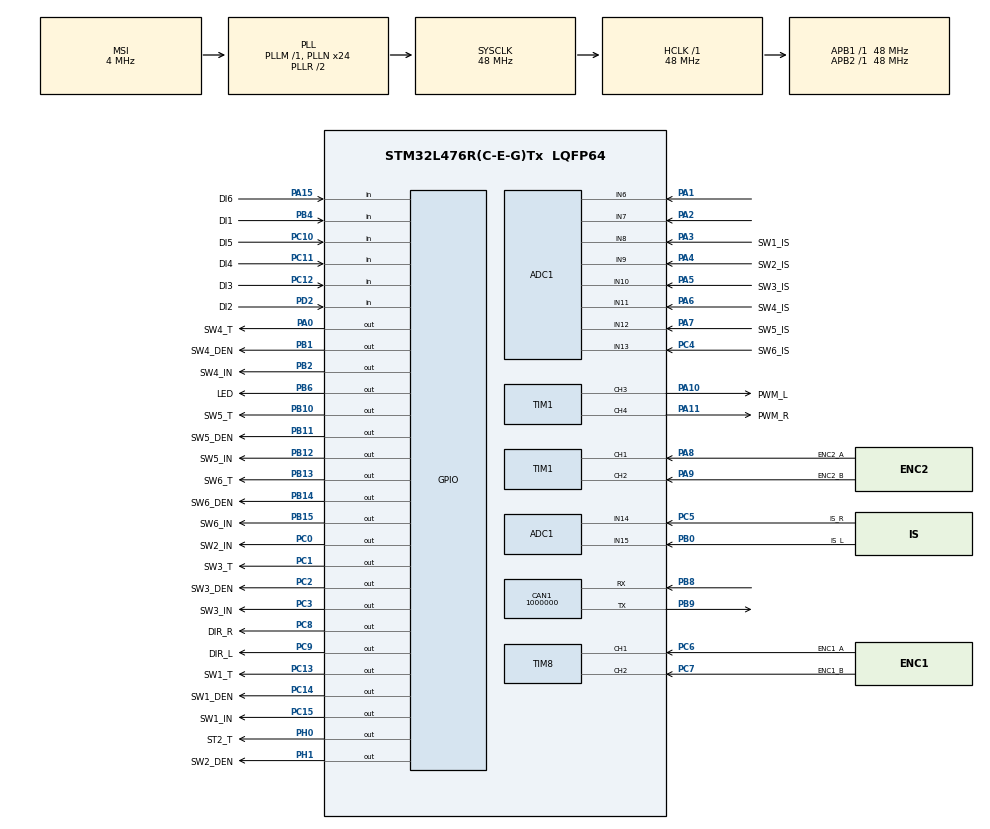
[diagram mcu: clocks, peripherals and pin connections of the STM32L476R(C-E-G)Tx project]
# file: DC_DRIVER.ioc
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ADC1.Channel-0\#ChannelRegularConversion=ADC_CHANNEL_7
ADC1.NbrOfConversionFlag=1
ADC1.OffsetNumber-0\#ChannelRegularConversion=ADC_OFFSET_NONE
ADC1.Rank-0\#ChannelRegularConversion=1
ADC1.SamplingTime-0\#ChannelRegularConversion=ADC_SAMPLETIME_2CYCLES_5
ADC1.master=1
CAN1.BS1=CAN_BS1_1TQ
CAN1.BS2=CAN_BS2_1TQ
CAN1.CalculateBaudRate=1000000
CAN1.CalculateTimeBit=1000
CAN1.CalculateTimeQuantum=333.3333333333333
Mcu.Family=STM32L4
Mcu.Name=STM32L476R(C-E-G)Tx
Mcu.Package=LQFP64
NVIC.PriorityGroup=NVIC_PRIORITYGROUP_4
PA0.GPIO_Label=SW4_T
PA0.Signal=GPIO_Output
PA1.Signal=ADCx_IN6
PA10.GPIO_Label=PWM_L
PA10.Signal=S_TIM1_CH3
PA11.GPIO_Label=PWM_R
PA11.Signal=S_TIM1_CH4
PA13\ (JTMS-SWDIO).Mode=Serial_Wire
PA13\ (JTMS-SWDIO).Signal=SYS_JTMS-SWDIO
PA14\ (JTCK-SWCLK).Mode=Serial_Wire
PA14\ (JTCK-SWCLK).Signal=SYS_JTCK-SWCLK
PA15\ (JTDI).GPIO_Label=DI6
PA15\ (JTDI).Signal=GPIO_Input
PA2.Signal=ADCx_IN7
PA3.GPIO_Label=SW1_IS
PA3.Signal=ADCx_IN8
PA4.GPIO_Label=SW2_IS
PA4.Signal=ADCx_IN9
PA5.GPIO_Label=SW3_IS
PA5.Signal=ADCx_IN10
PA6.GPIO_Label=SW4_IS
PA6.Signal=ADCx_IN11
PA7.GPIO_Label=SW5_IS
PA7.Signal=ADCx_IN12
PA8.GPIO_Label=ENC2_A
PA8.Signal=S_TIM1_CH1
PA9.GPIO_Label=ENC2_B
PA9.Signal=S_TIM1_CH2
PB0.GPIO_Label=IS_L
PB0.Signal=ADCx_IN15
PB1.GPIO_Label=SW4_DEN
PB1.Signal=GPIO_Output
PB10.GPIO_Label=SW5_T
PB10.Signal=GPIO_Output
PB11.GPIO_Label=SW5_DEN
PB11.Signal=GPIO_Output
PB12.GPIO_Label=SW5_IN
PB12.Signal=GPIO_Output
PB13.GPIO_Label=SW6_T
PB13.Signal=GPIO_Output
PB14.GPIO_Label=SW6_DEN
PB14.Signal=GPIO_Output
PB15.GPIO_Label=SW6_IN
PB15.Signal=GPIO_Output
PB2.GPIO_Label=SW4_IN
PB2.Signal=GPIO_Output
PB4\ (NJTRST).GPIO_Label=DI1
PB4\ (NJTRST).Signal=GPIO_Input
PB6.GPIO_Label=LED
PB6.Signal=GPIO_Output
PB8.Mode=CAN_Activate
PB8.Signal=CAN1_RX
PB9.Mode=CAN_Activate
PB9.Signal=CAN1_TX
PC0.GPIO_Label=SW2_IN
PC0.Signal=GPIO_Output
PC1.GPIO_Label=SW3_T
PC1.Signal=GPIO_Output
PC10.GPIO_Label=DI5
PC10.Signal=GPIO_Input
PC11.GPIO_Label=DI4
PC11.Signal=GPIO_Input
PC12.GPIO_Label=DI3
PC12.Signal=GPIO_Input
PC13.GPIO_Label=SW1_T
PC13.GPIO_PuPd=GPIO_PULLDOWN
PC13.Signal=GPIO_Output
PC14-OSC32_IN\ (PC14).GPIO_Label=SW1_DEN
PC14-OSC32_IN\ (PC14).GPIO_PuPd=GPIO_NOPULL
PC14-OSC32_IN\ (PC14).Signal=GPIO_Output
PC15-OSC32_OUT\ (PC15).GPIO_Label=SW1_IN
PC15-OSC32_OUT\ (PC15).GPIO_PuPd=GPIO_NOPULL
PC15-OSC32_OUT\ (PC15).PinState=GPIO_PIN_RESET
PC15-OSC32_OUT\ (PC15).Signal=GPIO_Output
PC2.GPIO_Label=SW3_DEN
PC2.Signal=GPIO_Output
PC3.GPIO_Label=SW3_IN
PC3.Signal=GPIO_Output
PC4.GPIO_Label=SW6_IS
PC4.Signal=ADCx_IN13
PC5.GPIO_Label=IS_R
PC5.Signal=ADCx_IN14
PC6.GPIO_Label=ENC1_A
PC6.Signal=S_TIM8_CH1
PC7.GPIO_Label=ENC1_B
PC7.Signal=S_TIM8_CH2
PC8.GPIO_Label=DIR_R
PC8.Signal=GPIO_Output
PC9.GPIO_Label=DIR_L
PC9.Signal=GPIO_Output
PD2.GPIO_Label=DI2
PD2.Signal=GPIO_Input
PH0-OSC_IN\ (PH0).GPIO_Label=ST2_T
PH0-OSC_IN\ (PH0).Signal=GPIO_Output
PH1-OSC_OUT\ (PH1).GPIO_Label=SW2_DEN
PH1-OSC_OUT\ (PH1).Signal=GPIO_Output
ProjectManager.HeapSize=0x200
ProjectManager.StackSize=0x400
ProjectManager.TargetToolchain=STM32CubeIDE
RCC.ADCFreq_Value=32000000
RCC.AHBFreq_Value=48000000
RCC.APB1Freq_Value=48000000
RCC.APB1TimFreq_Value=48000000
RCC.APB2Freq_Value=48000000
RCC.APB2TimFreq_Value=48000000
RCC.CortexFreq_Value=48000000
RCC.HCLKFreq_Value=48000000
RCC.HSE_VALUE=8000000
RCC.HSI_VALUE=16000000
RCC.LSE_VALUE=32768
RCC.MSI_VALUE=4000000
RCC.PLLN=24
RCC.PLLSAI1N=16
RCC.SYSCLKFreq_VALUE=48000000
RCC.SYSCLKSource=RCC_SYSCLKSOURCE_PLLCLK
RCC.USBFreq_Value=32000000
RCC.VCOOutputFreq_Value=96000000
SH.ADCx_IN10.0=ADC1_IN10,IN10-Single-Ended
SH.ADCx_IN11.0=ADC1_IN11,IN11-Single-Ended
SH.ADCx_IN12.0=ADC1_IN12,IN12-Single-Ended
SH.ADCx_IN13.0=ADC1_IN13,IN13-Single-Ended
SH.ADCx_IN14.0=ADC1_IN14,IN14-Single-Ended
SH.ADCx_IN15.0=ADC1_IN15,IN15-Single-Ended
SH.ADCx_IN6.0=ADC1_IN6,IN6-Single-Ended
SH.ADCx_IN7.0=ADC1_IN7,IN7-Single-Ended
SH.ADCx_IN8.0=ADC1_IN8,IN8-Single-Ended
SH.ADCx_IN9.0=ADC1_IN9,IN9-Single-Ended
SH.S_TIM1_CH1.0=TIM1_CH1,Encoder_Interface
SH.S_TIM1_CH2.0=TIM1_CH2,Encoder_Interface
SH.S_TIM1_CH3.0=TIM1_CH3,PWM Generation3 CH3
SH.S_TIM1_CH4.0=TIM1_CH4,PWM Generation4 CH4
SH.S_TIM8_CH1.0=TIM8_CH1,Encoder_Interface
SH.S_TIM8_CH2.0=TIM8_CH2,Encoder_Interface
TIM1.Channel-PWM\ Generation3\ CH3=TIM_CHANNEL_3
TIM1.Channel-PWM\ Generation4\ CH4=TIM_CHANNEL_4
board=custom

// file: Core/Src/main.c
/* USER CODE BEGIN Header */
/**
  ******************************************************************************
  * @file           : main.c
  * @brief          : Main program body
  ******************************************************************************
  * @attention
  *
  * Copyright (c) 2024 STMicroelectronics.
  * All rights reserved.
  *
  * This software is licensed under terms that can be found in the LICENSE file
  * in the root directory of this software component.
  * If no LICENSE file comes with this software, it is provided AS-IS.
  *
  ******************************************************************************
  */
/* USER CODE END Header */
#include "main.h"

/* USER CODE BEGIN Includes */
#include <stdbool.h>
/* USER CODE END Includes */

ADC_HandleTypeDef hadc1;

CAN_HandleTypeDef hcan1;

TIM_HandleTypeDef htim1;
TIM_HandleTypeDef htim8;

void SystemClock_Config(void);
static void MX_GPIO_Init(void);
static void MX_ADC1_Init(void);
static void MX_CAN1_Init(void);
static void MX_TIM1_Init(void);
static void MX_TIM8_Init(void);

/* USER CODE BEGIN 0 */
uint32_t LastBlinkTime = 0; // Stores the last time the LED blinked
uint32_t BlinkInterval = 500; // Blink interval in milliseconds
/* USER CODE END 0 */

int main(void)
{

  /* MCU Configuration--------------------------------------------------------*/

  /* Reset of all peripherals, Initializes the Flash interface and the Systick. */
  HAL_Init();

  /* Configure the system clock */
  SystemClock_Config();

  /* Initialize all configured peripherals */
  MX_GPIO_Init();
  MX_ADC1_Init();
  MX_CAN1_Init();
  MX_TIM1_Init();
  MX_TIM8_Init();

  /* Infinite loop */
  /* USER CODE BEGIN WHILE */
  while (1)
  {
	  BlinkLed();
	  PowerSwitchOffDiagnostic(1, 1);
	  PowerSwitchOffDiagnostic(2, 1);
	  PowerSwitchOffDiagnostic(3, 1);
	  PowerSwitchOffDiagnostic(4, 1);
	  PowerSwitchOffDiagnostic(5, 1);
	  PowerSwitchOffDiagnostic(6, 1);
    /* USER CODE END WHILE */

  }
}

void SystemClock_Config(void)
{
  RCC_OscInitTypeDef RCC_OscInitStruct = {0};
  RCC_ClkInitTypeDef RCC_ClkInitStruct = {0};

  /** Configure the main internal regulator output voltage
  */
  if (HAL_PWREx_ControlVoltageScaling(PWR_REGULATOR_VOLTAGE_SCALE1) != HAL_OK)
  {
    Error_Handler();
  }

  /** Initializes the RCC Oscillators according to the specified parameters
  * in the RCC_OscInitTypeDef structure.
  */
  RCC_OscInitStruct.OscillatorType = RCC_OSCILLATORTYPE_MSI;
  RCC_OscInitStruct.MSIState = RCC_MSI_ON;
  RCC_OscInitStruct.MSICalibrationValue = 0;
  RCC_OscInitStruct.MSIClockRange = RCC_MSIRANGE_6;
  RCC_OscInitStruct.PLL.PLLState = RCC_PLL_ON;
  RCC_OscInitStruct.PLL.PLLSource = RCC_PLLSOURCE_MSI;
  RCC_OscInitStruct.PLL.PLLM = 1;
  RCC_OscInitStruct.PLL.PLLN = 24;
  RCC_OscInitStruct.PLL.PLLP = RCC_PLLP_DIV7;
  RCC_OscInitStruct.PLL.PLLQ = RCC_PLLQ_DIV2;
  RCC_OscInitStruct.PLL.PLLR = RCC_PLLR_DIV2;
  if (HAL_RCC_OscConfig(&RCC_OscInitStruct) != HAL_OK)
  {
    Error_Handler();
  }

  /** Initializes the CPU, AHB and APB buses clocks
  */
  RCC_ClkInitStruct.ClockType = RCC_CLOCKTYPE_HCLK|RCC_CLOCKTYPE_SYSCLK
                              |RCC_CLOCKTYPE_PCLK1|RCC_CLOCKTYPE_PCLK2;
  RCC_ClkInitStruct.SYSCLKSource = RCC_SYSCLKSOURCE_PLLCLK;
  RCC_ClkInitStruct.AHBCLKDivider = RCC_SYSCLK_DIV1;
  RCC_ClkInitStruct.APB1CLKDivider = RCC_HCLK_DIV1;
  RCC_ClkInitStruct.APB2CLKDivider = RCC_HCLK_DIV1;

  if (HAL_RCC_ClockConfig(&RCC_ClkInitStruct, FLASH_LATENCY_2) != HAL_OK)
  {
    Error_Handler();
  }
}

static void MX_ADC1_Init(void)
{

  ADC_MultiModeTypeDef multimode = {0};
  ADC_ChannelConfTypeDef sConfig = {0};

  /** Common config
  */
  hadc1.Instance = ADC1;
  hadc1.Init.ClockPrescaler = ADC_CLOCK_ASYNC_DIV1;
  hadc1.Init.Resolution = ADC_RESOLUTION_12B;
  hadc1.Init.DataAlign = ADC_DATAALIGN_RIGHT;
  hadc1.Init.ScanConvMode = ADC_SCAN_DISABLE;
  hadc1.Init.EOCSelection = ADC_EOC_SINGLE_CONV;
  hadc1.Init.LowPowerAutoWait = DISABLE;
  hadc1.Init.ContinuousConvMode = DISABLE;
  hadc1.Init.NbrOfConversion = 1;
  hadc1.Init.DiscontinuousConvMode = DISABLE;
  hadc1.Init.ExternalTrigConv = ADC_SOFTWARE_START;
  hadc1.Init.ExternalTrigConvEdge = ADC_EXTERNALTRIGCONVEDGE_NONE;
  hadc1.Init.DMAContinuousRequests = DISABLE;
  hadc1.Init.Overrun = ADC_OVR_DATA_PRESERVED;
  hadc1.Init.OversamplingMode = DISABLE;
  if (HAL_ADC_Init(&hadc1) != HAL_OK)
  {
    Error_Handler();
  }

  /** Configure the ADC multi-mode
  */
  multimode.Mode = ADC_MODE_INDEPENDENT;
  if (HAL_ADCEx_MultiModeConfigChannel(&hadc1, &multimode) != HAL_OK)
  {
    Error_Handler();
  }

  /** Configure Regular Channel
  */
  sConfig.Channel = ADC_CHANNEL_7;
  sConfig.Rank = ADC_REGULAR_RANK_1;
  sConfig.SamplingTime = ADC_SAMPLETIME_2CYCLES_5;
  sConfig.SingleDiff = ADC_SINGLE_ENDED;
  sConfig.OffsetNumber = ADC_OFFSET_NONE;
  sConfig.Offset = 0;
  if (HAL_ADC_ConfigChannel(&hadc1, &sConfig) != HAL_OK)
  {
    Error_Handler();
  }

}

static void MX_CAN1_Init(void)
{

  hcan1.Instance = CAN1;
  hcan1.Init.Prescaler = 16;
  hcan1.Init.Mode = CAN_MODE_NORMAL;
  hcan1.Init.SyncJumpWidth = CAN_SJW_1TQ;
  hcan1.Init.TimeSeg1 = CAN_BS1_1TQ;
  hcan1.Init.TimeSeg2 = CAN_BS2_1TQ;
  hcan1.Init.TimeTriggeredMode = DISABLE;
  hcan1.Init.AutoBusOff = DISABLE;
  hcan1.Init.AutoWakeUp = DISABLE;
  hcan1.Init.AutoRetransmission = DISABLE;
  hcan1.Init.ReceiveFifoLocked = DISABLE;
  hcan1.Init.TransmitFifoPriority = DISABLE;
  if (HAL_CAN_Init(&hcan1) != HAL_OK)
  {
    Error_Handler();
  }

}

static void MX_TIM1_Init(void)
{

  TIM_Encoder_InitTypeDef sConfig = {0};
  TIM_MasterConfigTypeDef sMasterConfig = {0};
  TIM_OC_InitTypeDef sConfigOC = {0};
  TIM_BreakDeadTimeConfigTypeDef sBreakDeadTimeConfig = {0};

  htim1.Instance = TIM1;
  htim1.Init.Prescaler = 0;
  htim1.Init.CounterMode = TIM_COUNTERMODE_UP;
  htim1.Init.Period = 65535;
  htim1.Init.ClockDivision = TIM_CLOCKDIVISION_DIV1;
  htim1.Init.RepetitionCounter = 0;
  htim1.Init.AutoReloadPreload = TIM_AUTORELOAD_PRELOAD_DISABLE;
  if (HAL_TIM_PWM_Init(&htim1) != HAL_OK)
  {
    Error_Handler();
  }
  sConfig.EncoderMode = TIM_ENCODERMODE_TI1;
  sConfig.IC1Polarity = TIM_ICPOLARITY_RISING;
  sConfig.IC1Selection = TIM_ICSELECTION_DIRECTTI;
  sConfig.IC1Prescaler = TIM_ICPSC_DIV1;
  sConfig.IC1Filter = 0;
  sConfig.IC2Polarity = TIM_ICPOLARITY_RISING;
  sConfig.IC2Selection = TIM_ICSELECTION_DIRECTTI;
  sConfig.IC2Prescaler = TIM_ICPSC_DIV1;
  sConfig.IC2Filter = 0;
  if (HAL_TIM_Encoder_Init(&htim1, &sConfig) != HAL_OK)
  {
    Error_Handler();
  }
  sMasterConfig.MasterOutputTrigger = TIM_TRGO_RESET;
  sMasterConfig.MasterOutputTrigger2 = TIM_TRGO2_RESET;
  sMasterConfig.MasterSlaveMode = TIM_MASTERSLAVEMODE_DISABLE;
  if (HAL_TIMEx_MasterConfigSynchronization(&htim1, &sMasterConfig) != HAL_OK)
  {
    Error_Handler();
  }
  sConfigOC.OCMode = TIM_OCMODE_PWM1;
  sConfigOC.Pulse = 0;
  sConfigOC.OCPolarity = TIM_OCPOLARITY_HIGH;
  sConfigOC.OCNPolarity = TIM_OCNPOLARITY_HIGH;
  sConfigOC.OCFastMode = TIM_OCFAST_DISABLE;
  sConfigOC.OCIdleState = TIM_OCIDLESTATE_RESET;
  sConfigOC.OCNIdleState = TIM_OCNIDLESTATE_RESET;
  if (HAL_TIM_PWM_ConfigChannel(&htim1, &sConfigOC, TIM_CHANNEL_3) != HAL_OK)
  {
    Error_Handler();
  }
  if (HAL_TIM_PWM_ConfigChannel(&htim1, &sConfigOC, TIM_CHANNEL_4) != HAL_OK)
  {
    Error_Handler();
  }
  sBreakDeadTimeConfig.OffStateRunMode = TIM_OSSR_DISABLE;
  sBreakDeadTimeConfig.OffStateIDLEMode = TIM_OSSI_DISABLE;
  sBreakDeadTimeConfig.LockLevel = TIM_LOCKLEVEL_OFF;
  sBreakDeadTimeConfig.DeadTime = 0;
  sBreakDeadTimeConfig.BreakState = TIM_BREAK_DISABLE;
  sBreakDeadTimeConfig.BreakPolarity = TIM_BREAKPOLARITY_HIGH;
  sBreakDeadTimeConfig.BreakFilter = 0;
  sBreakDeadTimeConfig.Break2State = TIM_BREAK2_DISABLE;
  sBreakDeadTimeConfig.Break2Polarity = TIM_BREAK2POLARITY_HIGH;
  sBreakDeadTimeConfig.Break2Filter = 0;
  sBreakDeadTimeConfig.AutomaticOutput = TIM_AUTOMATICOUTPUT_DISABLE;
  if (HAL_TIMEx_ConfigBreakDeadTime(&htim1, &sBreakDeadTimeConfig) != HAL_OK)
  {
    Error_Handler();
  }
  HAL_TIM_MspPostInit(&htim1);

}

static void MX_TIM8_Init(void)
{

  TIM_Encoder_InitTypeDef sConfig = {0};
  TIM_MasterConfigTypeDef sMasterConfig = {0};

  htim8.Instance = TIM8;
  htim8.Init.Prescaler = 0;
  htim8.Init.CounterMode = TIM_COUNTERMODE_UP;
  htim8.Init.Period = 65535;
  htim8.Init.ClockDivision = TIM_CLOCKDIVISION_DIV1;
  htim8.Init.RepetitionCounter = 0;
  htim8.Init.AutoReloadPreload = TIM_AUTORELOAD_PRELOAD_DISABLE;
  sConfig.EncoderMode = TIM_ENCODERMODE_TI1;
  sConfig.IC1Polarity = TIM_ICPOLARITY_RISING;
  sConfig.IC1Selection = TIM_ICSELECTION_DIRECTTI;
  sConfig.IC1Prescaler = TIM_ICPSC_DIV1;
  sConfig.IC1Filter = 0;
  sConfig.IC2Polarity = TIM_ICPOLARITY_RISING;
  sConfig.IC2Selection = TIM_ICSELECTION_DIRECTTI;
  sConfig.IC2Prescaler = TIM_ICPSC_DIV1;
  sConfig.IC2Filter = 0;
  if (HAL_TIM_Encoder_Init(&htim8, &sConfig) != HAL_OK)
  {
    Error_Handler();
  }
  sMasterConfig.MasterOutputTrigger = TIM_TRGO_RESET;
  sMasterConfig.MasterOutputTrigger2 = TIM_TRGO2_RESET;
  sMasterConfig.MasterSlaveMode = TIM_MASTERSLAVEMODE_DISABLE;
  if (HAL_TIMEx_MasterConfigSynchronization(&htim8, &sMasterConfig) != HAL_OK)
  {
    Error_Handler();
  }

}

static void MX_GPIO_Init(void)
{
  GPIO_InitTypeDef GPIO_InitStruct = {0};

  /* GPIO Ports Clock Enable */
  __HAL_RCC_GPIOC_CLK_ENABLE();
  __HAL_RCC_GPIOH_CLK_ENABLE();
  __HAL_RCC_GPIOA_CLK_ENABLE();
  __HAL_RCC_GPIOB_CLK_ENABLE();
  __HAL_RCC_GPIOD_CLK_ENABLE();

  /*Configure GPIO pin Output Level */
  HAL_GPIO_WritePin(GPIOC, SW1_T_Pin|SW1_DEN_Pin|SW1_IN_Pin|SW2_IN_Pin
                          |SW3_T_Pin|SW3_DEN_Pin|SW3_IN_Pin|DIR_R_Pin
                          |DIR_L_Pin, GPIO_PIN_RESET);

  /*Configure GPIO pin Output Level */
  HAL_GPIO_WritePin(GPIOH, ST2_T_Pin|SW2_DEN_Pin, GPIO_PIN_RESET);

  /*Configure GPIO pin Output Level */
  HAL_GPIO_WritePin(SW4_T_GPIO_Port, SW4_T_Pin, GPIO_PIN_RESET);

  /*Configure GPIO pin Output Level */
  HAL_GPIO_WritePin(GPIOB, SW4_DEN_Pin|SW4_IN_Pin|SW5_T_Pin|SW5_DEN_Pin
                          |SW5_IN_Pin|SW6_T_Pin|SW6_DEN_Pin|SW6_IN_Pin
                          |LED_Pin, GPIO_PIN_RESET);

  /*Configure GPIO pin : SW1_T_Pin */
  GPIO_InitStruct.Pin = SW1_T_Pin;
  GPIO_InitStruct.Mode = GPIO_MODE_OUTPUT_PP;
  GPIO_InitStruct.Pull = GPIO_PULLDOWN;
  GPIO_InitStruct.Speed = GPIO_SPEED_FREQ_LOW;
  HAL_GPIO_Init(SW1_T_GPIO_Port, &GPIO_InitStruct);

  /*Configure GPIO pins : SW1_DEN_Pin SW1_IN_Pin SW2_IN_Pin SW3_T_Pin
                           SW3_DEN_Pin SW3_IN_Pin DIR_R_Pin DIR_L_Pin */
  GPIO_InitStruct.Pin = SW1_DEN_Pin|SW1_IN_Pin|SW2_IN_Pin|SW3_T_Pin
                          |SW3_DEN_Pin|SW3_IN_Pin|DIR_R_Pin|DIR_L_Pin;
  GPIO_InitStruct.Mode = GPIO_MODE_OUTPUT_PP;
  GPIO_InitStruct.Pull = GPIO_NOPULL;
  GPIO_InitStruct.Speed = GPIO_SPEED_FREQ_LOW;
  HAL_GPIO_Init(GPIOC, &GPIO_InitStruct);

  /*Configure GPIO pins : ST2_T_Pin SW2_DEN_Pin */
  GPIO_InitStruct.Pin = ST2_T_Pin|SW2_DEN_Pin;
  GPIO_InitStruct.Mode = GPIO_MODE_OUTPUT_PP;
  GPIO_InitStruct.Pull = GPIO_NOPULL;
  GPIO_InitStruct.Speed = GPIO_SPEED_FREQ_LOW;
  HAL_GPIO_Init(GPIOH, &GPIO_InitStruct);

  /*Configure GPIO pin : SW4_T_Pin */
  GPIO_InitStruct.Pin = SW4_T_Pin;
  GPIO_InitStruct.Mode = GPIO_MODE_OUTPUT_PP;
  GPIO_InitStruct.Pull = GPIO_NOPULL;
  GPIO_InitStruct.Speed = GPIO_SPEED_FREQ_LOW;
  HAL_GPIO_Init(SW4_T_GPIO_Port, &GPIO_InitStruct);

  /*Configure GPIO pins : SW4_DEN_Pin SW4_IN_Pin SW5_T_Pin SW5_DEN_Pin
                           SW5_IN_Pin SW6_T_Pin SW6_DEN_Pin SW6_IN_Pin
                           LED_Pin */
  GPIO_InitStruct.Pin = SW4_DEN_Pin|SW4_IN_Pin|SW5_T_Pin|SW5_DEN_Pin
                          |SW5_IN_Pin|SW6_T_Pin|SW6_DEN_Pin|SW6_IN_Pin
                          |LED_Pin;
  GPIO_InitStruct.Mode = GPIO_MODE_OUTPUT_PP;
  GPIO_InitStruct.Pull = GPIO_NOPULL;
  GPIO_InitStruct.Speed = GPIO_SPEED_FREQ_LOW;
  HAL_GPIO_Init(GPIOB, &GPIO_InitStruct);

  /*Configure GPIO pin : DI6_Pin */
  GPIO_InitStruct.Pin = DI6_Pin;
  GPIO_InitStruct.Mode = GPIO_MODE_INPUT;
  GPIO_InitStruct.Pull = GPIO_NOPULL;
  HAL_GPIO_Init(DI6_GPIO_Port, &GPIO_InitStruct);

  /*Configure GPIO pins : DI5_Pin DI4_Pin DI3_Pin */
  GPIO_InitStruct.Pin = DI5_Pin|DI4_Pin|DI3_Pin;
  GPIO_InitStruct.Mode = GPIO_MODE_INPUT;
  GPIO_InitStruct.Pull = GPIO_NOPULL;
  HAL_GPIO_Init(GPIOC, &GPIO_InitStruct);

  /*Configure GPIO pin : DI2_Pin */
  GPIO_InitStruct.Pin = DI2_Pin;
  GPIO_InitStruct.Mode = GPIO_MODE_INPUT;
  GPIO_InitStruct.Pull = GPIO_NOPULL;
  HAL_GPIO_Init(DI2_GPIO_Port, &GPIO_InitStruct);

  /*Configure GPIO pin : DI1_Pin */
  GPIO_InitStruct.Pin = DI1_Pin;
  GPIO_InitStruct.Mode = GPIO_MODE_INPUT;
  GPIO_InitStruct.Pull = GPIO_NOPULL;
  HAL_GPIO_Init(DI1_GPIO_Port, &GPIO_InitStruct);

}

/* USER CODE BEGIN 4 */
// Blinking LED on PB6 pin
void BlinkLed(void)
{
	uint32_t CurrentTime = HAL_GetTick(); // Get the current system time in ms

	// Check if the blink interval has passed
	if ((CurrentTime - LastBlinkTime) >= BlinkInterval)
	{
		HAL_GPIO_TogglePin(LED_GPIO_Port, LED_Pin);
		LastBlinkTime = CurrentTime; // Update the last blink time
	}
}

// Toggling state of IN pin of power switches in off diagnostic mode
void PowerSwitchOffDiagnostic(uint8_t DeviceNumber, bool state)
{
    GPIO_PinState PinState = state ? GPIO_PIN_SET : GPIO_PIN_RESET;

    switch(DeviceNumber)
    {
        case 1:
            HAL_GPIO_WritePin(SW1_IN_GPIO_Port, SW1_IN_Pin, PinState);
            break;
        case 2:
            HAL_GPIO_WritePin(SW2_IN_GPIO_Port, SW2_IN_Pin, PinState);
            break;
        case 3:
            HAL_GPIO_WritePin(SW3_IN_GPIO_Port, SW3_IN_Pin, PinState);
            break;
        case 4:
            HAL_GPIO_WritePin(SW4_IN_GPIO_Port, SW4_IN_Pin, PinState);
            break;
        case 5:
            HAL_GPIO_WritePin(SW5_IN_GPIO_Port, SW5_IN_Pin, PinState);
            break;
        case 6:
            HAL_GPIO_WritePin(SW6_IN_GPIO_Port, SW6_IN_Pin, PinState);
            break;
        default:
            break;
    }
}

/* USER CODE END 4 */

void Error_Handler(void)
{
  __disable_irq();
  while (1)
  {
  }
}
